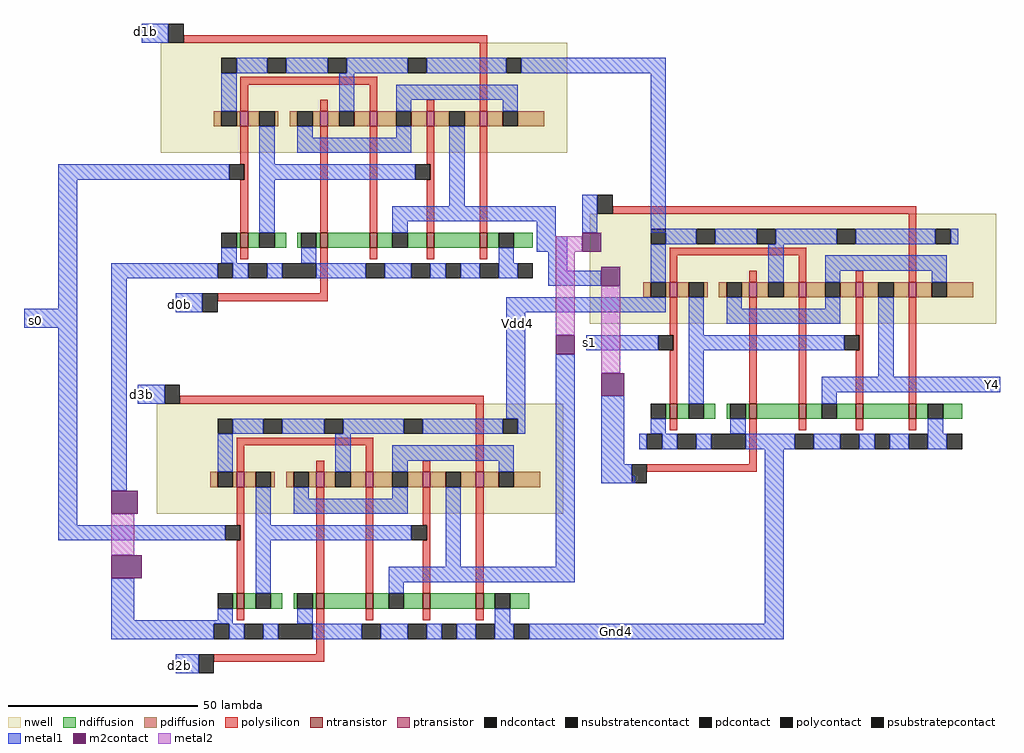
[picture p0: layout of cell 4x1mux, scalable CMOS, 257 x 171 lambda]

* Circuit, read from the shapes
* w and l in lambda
.subckt 4x1mux Gnd4 Vdd4 Y4 d0b d1b d2b d3b s0 s1
M1 n1 s0 Gnd4 Gnd4 nfet w=4 l=2
M2 n2 s0 Gnd4 Gnd4 nfet w=4 l=2
M3 n3 d2b Gnd4 Gnd4 nfet w=4 l=2
M4 n4 d0b Gnd4 Gnd4 nfet w=4 l=2
M5 2mux_1/Y s0 n3 Gnd4 nfet w=4 l=2
M6 2mux_0/Y s0 n4 Gnd4 nfet w=4 l=2
M7 n5 n1 2mux_1/Y Gnd4 nfet w=4 l=2
M8 n6 n2 2mux_0/Y Gnd4 nfet w=4 l=2
M9 Gnd4 d3b n5 Gnd4 nfet w=4 l=2
M10 Gnd4 d1b n6 Gnd4 nfet w=4 l=2
M11 n7 s1 Gnd4 Gnd4 nfet w=4 l=2
M12 n8 2mux_0/Y Gnd4 Gnd4 nfet w=4 l=2
M13 Y4 s1 n8 Gnd4 nfet w=4 l=2
M14 n9 n7 Y4 Gnd4 nfet w=4 l=2
M15 Gnd4 2mux_1/Y n9 Gnd4 nfet w=4 l=2
M16 n1 s0 Vdd4 Vdd4 pfet w=4 l=2
M17 n2 s0 Vdd4 Vdd4 pfet w=4 l=2
M18 Vdd4 d2b n10 Vdd4 pfet w=4 l=2
M19 Vdd4 d0b n11 Vdd4 pfet w=4 l=2
M20 n10 s0 Vdd4 Vdd4 pfet w=4 l=2
M21 n11 s0 Vdd4 Vdd4 pfet w=4 l=2
M22 2mux_1/Y n1 n10 Vdd4 pfet w=4 l=2
M23 2mux_0/Y n2 n11 Vdd4 pfet w=4 l=2
M24 n10 d3b 2mux_1/Y Vdd4 pfet w=4 l=2
M25 n11 d1b 2mux_0/Y Vdd4 pfet w=4 l=2
M26 n7 s1 Vdd4 Vdd4 pfet w=4 l=2
M27 Vdd4 2mux_0/Y n12 Vdd4 pfet w=4 l=2
M28 n12 s1 Vdd4 Vdd4 pfet w=4 l=2
M29 Y4 n7 n12 Vdd4 pfet w=4 l=2
M30 n12 2mux_1/Y Y4 Vdd4 pfet w=4 l=2
.ends

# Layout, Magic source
magic
tech scmos
<< metal1 >>
rect -3 71 1 76
rect 98 63 135 67
rect -25 35 16 39
rect -25 1 -20 35
rect 101 20 106 26
rect 113 21 117 31
rect 131 21 135 63
rect 101 16 109 20
rect -34 -4 -20 1
rect -25 -56 -20 -4
rect -11 9 16 13
rect 104 11 109 16
rect -11 -47 -7 9
rect 104 7 118 11
rect 6 0 12 5
rect 93 0 135 4
rect -4 -24 2 -19
rect 93 -28 98 0
rect 114 -10 124 -6
rect -25 -60 6 -56
rect 106 -67 111 -11
rect 219 -21 223 -17
rect 118 -42 124 -22
rect 118 -43 126 -42
rect 118 -45 127 -43
rect -11 -81 -5 -70
rect 104 -71 111 -67
rect -11 -82 18 -81
rect 161 -82 166 -32
rect -11 -86 14 -82
rect 99 -86 166 -82
rect 6 -95 8 -90
<< m2contact >>
rect 113 16 118 21
rect 118 7 123 12
rect 106 -11 111 -6
rect -11 -53 -4 -47
rect -11 -70 -3 -64
rect 118 -22 124 -16
<< metal2 >>
rect 106 16 113 20
rect 106 -6 111 16
rect 118 -16 123 7
rect -11 -64 -5 -53
use 2mux  2mux_2
transform 1 0 181 0 1 1
box -68 -46 41 30
use 2mux  2mux_1
transform 1 0 67 0 1 -49
box -68 -46 41 30
use 2mux  2mux_0
transform 1 0 68 0 1 46
box -68 -46 41 30
<< labels >>
rlabel metal1 96 -3 96 -3 1 Vdd4
rlabel metal1 219 -21 223 -17 7 Y4
rlabel metal1 -31 -2 -31 -2 3 s0
rlabel metal1 -2 74 -2 74 5 d1b
rlabel metal1 7 2 7 2 1 d0b
rlabel metal1 -3 -22 -3 -21 1 d3b
rlabel metal1 7 -93 7 -93 1 d2b
rlabel metal1 115 -8 115 -8 1 s1
rlabel metal1 122 -84 122 -84 1 Gnd4
<< end >>

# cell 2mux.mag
magic
tech scmos
<< nwell >>
rect -66 -4 41 25
<< ntransistor >>
rect -45 -29 -43 -25
rect -24 -29 -22 -25
rect -11 -29 -9 -25
rect 4 -29 6 -25
rect 18 -29 20 -25
<< ptransistor >>
rect -45 3 -43 7
rect -24 3 -22 7
rect -11 3 -9 7
rect 4 3 6 7
rect 18 3 20 7
<< ndiffusion >>
rect -46 -29 -45 -25
rect -43 -29 -40 -25
rect -36 -29 -33 -25
rect -30 -29 -29 -25
rect -25 -29 -24 -25
rect -22 -29 -11 -25
rect -9 -29 -5 -25
rect -1 -29 4 -25
rect 6 -29 18 -25
rect 20 -29 23 -25
rect 27 -29 32 -25
<< pdiffusion >>
rect -52 3 -50 7
rect -46 3 -45 7
rect -43 3 -40 7
rect -36 3 -35 7
rect -32 3 -30 7
rect -26 3 -24 7
rect -22 3 -19 7
rect -15 3 -11 7
rect -9 3 -4 7
rect 0 3 4 7
rect 6 3 10 7
rect 14 3 18 7
rect 20 3 24 7
rect 28 3 35 7
<< ndcontact >>
rect -50 -29 -46 -25
rect -40 -29 -36 -25
rect -29 -29 -25 -25
rect -5 -29 -1 -25
rect 23 -29 27 -25
<< pdcontact >>
rect -50 3 -46 7
rect -40 3 -36 7
rect -30 3 -26 7
rect -19 3 -15 7
rect -4 3 0 7
rect 10 3 14 7
rect 24 3 28 7
<< psubstratepcontact >>
rect -51 -37 -47 -33
rect -43 -37 -38 -33
rect -34 -37 -25 -33
rect -12 -37 -7 -33
rect 0 -37 5 -33
rect 9 -37 13 -33
rect 18 -37 23 -33
rect 28 -37 32 -33
<< nsubstratencontact >>
rect -50 17 -46 21
rect -38 17 -33 21
rect -22 17 -17 21
rect -1 17 4 21
rect 25 17 29 21
<< polysilicon >>
rect -60 25 20 27
rect -45 14 -9 16
rect -45 7 -43 14
rect -24 7 -22 10
rect -11 7 -9 14
rect 4 7 6 10
rect 18 7 20 25
rect -45 -7 -43 3
rect -44 -11 -43 -7
rect -45 -25 -43 -11
rect -24 -25 -22 3
rect -11 -25 -9 3
rect 4 -7 6 3
rect 5 -11 6 -7
rect 4 -25 6 -11
rect 18 -25 20 3
rect -45 -32 -43 -29
rect -24 -41 -22 -29
rect -11 -32 -9 -29
rect 4 -32 6 -29
rect 18 -32 20 -29
rect -51 -43 -22 -41
<< polycontact >>
rect -64 25 -60 30
rect -48 -11 -44 -7
rect 1 -11 5 -7
rect -55 -46 -51 -41
<< metal1 >>
rect -68 25 -64 30
rect -46 17 -38 21
rect -33 17 -22 21
rect -17 17 -1 21
rect 4 17 25 21
rect 29 17 31 21
rect -50 7 -46 17
rect -19 7 -15 17
rect -40 -7 -36 3
rect -4 10 28 14
rect -4 7 0 10
rect 24 7 28 10
rect -30 0 -26 3
rect -4 0 0 3
rect -30 -4 0 0
rect -61 -11 -48 -7
rect -40 -11 1 -7
rect -40 -25 -36 -11
rect 10 -18 14 3
rect -5 -22 38 -18
rect -5 -25 -1 -22
rect -50 -33 -46 -29
rect -29 -33 -25 -29
rect 23 -33 27 -29
rect -53 -37 -51 -33
rect -47 -37 -43 -33
rect -38 -37 -34 -33
rect -25 -37 -12 -33
rect -7 -37 0 -33
rect 5 -37 9 -33
rect 13 -37 18 -33
rect 23 -37 28 -33
rect -59 -46 -55 -41
<< labels >>
rlabel metal1 -60 -9 -60 -9 1 s
rlabel metal1 -58 -44 -58 -44 1 d0
rlabel metal1 -67 27 -67 27 4 d1
rlabel nsubstratencontact -47 19 -47 19 1 vdd
rlabel nsubstratencontact -47 19 -47 19 1 Vdd
rlabel psubstratepcontact -50 -35 -50 -35 1 Gnd
rlabel metal1 36 -20 36 -20 7 Y
<< end >>
